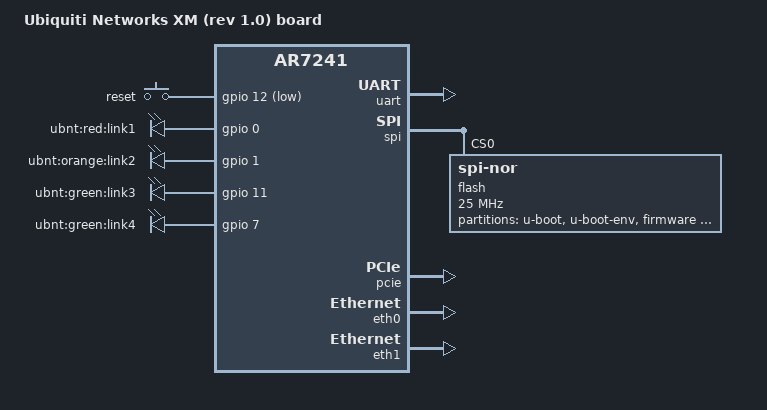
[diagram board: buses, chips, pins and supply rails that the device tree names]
// SPDX-License-Identifier: GPL-2.0-or-later OR MIT

#include <dt-bindings/gpio/gpio.h>
#include <dt-bindings/input/input.h>

#include "ar7241.dtsi"

/ {
	compatible = "ubnt,xm", "qca,ar7241";
	model = "Ubiquiti Networks XM (rev 1.0) board";

	aliases {
		led-boot = &link4;
		led-failsafe = &link4;
	};

/*	extosc: ref {
		compatible = "fixed-clock";
		#clock-cells = <0>;
		clock-frequency = <40000000>;
	};
*/
	keys {
		compatible = "gpio-keys-polled";
		poll-interval = <20>;
		reset {
			linux,code = <KEY_RESTART>;
			gpios = <&gpio 12 GPIO_ACTIVE_LOW>;
			debounce-interval = <60>;
		};
	};

	leds {
		compatible = "gpio-leds";
		link1 {
			label = "ubnt:red:link1";
			gpios = <&gpio 0 GPIO_ACTIVE_HIGH>;
		};

		link2 {
			label = "ubnt:orange:link2";
			gpios = <&gpio 1 GPIO_ACTIVE_HIGH>;
		};

		link3 {
			label = "ubnt:green:link3";
			gpios = <&gpio 11 GPIO_ACTIVE_HIGH>;
		};

		link4: link4 {
			label = "ubnt:green:link4";
			gpios = <&gpio 7 GPIO_ACTIVE_HIGH>;
		};
	};
};

&uart {
	status = "okay";
};

/*&pll {
	clocks = <&extosc>;
};*/

&spi {
	status = "okay";
	num-cs = <1>;

	flash@0 {
		compatible = "jedec,spi-nor";
		reg = <0>;
		spi-max-frequency = <25000000>;

		partitions {
			compatible = "fixed-partitions";
			#address-cells = <1>;
			#size-cells = <1>;

			partition@0 {
				label = "u-boot";
				reg = <0x000000 0x040000>;
				read-only;
			};

			partition@1 {
				label = "u-boot-env";
				reg = <0x040000 0x010000>;
			};

			partition@2 {
				label = "firmware";
				reg = <0x050000 0x750000>;
			};

			partition@3 {
				label = "board_config";
				reg = <0x7a0000 0x010000>;
				read-only;
			};

			partition@4 {
				label = "cfg";
				reg = <0x7b0000 0x040000>;
				read-only;
			};

			art: partition@5 {
				label = "art";
				reg = <0x7f0000 0x010000>;
				read-only;
			};
		};
	};
};

&pcie {
	status = "okay";

	wifi@0,0 {
		reg = <0x0000 0 0 0 0>;
		qca,no-eeprom;
	};
};

&eth0 {
	status = "okay";

	mtd-mac-address = <&art 0x0>;
};

&eth1 {
	status = "okay";

	mtd-mac-address = <&art 0x6>;
};
